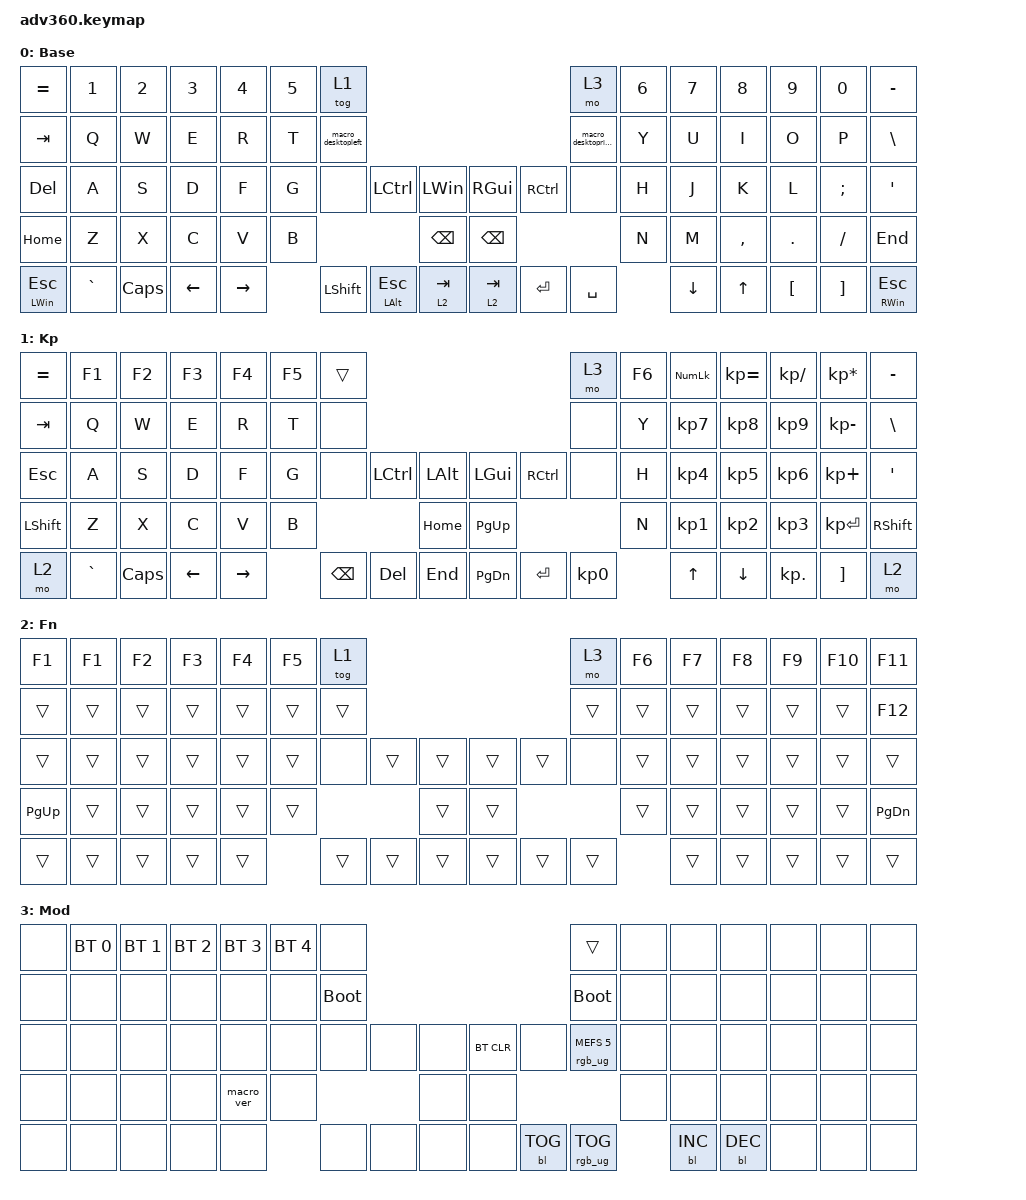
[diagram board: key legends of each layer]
#include <behaviors.dtsi>
#include <dt-bindings/zmk/keys.h>
#include <dt-bindings/zmk/bt.h>
#include <dt-bindings/zmk/rgb.h>
#include <dt-bindings/zmk/stp.h>
#include <dt-bindings/zmk/backlight.h>
#include <dt-bindings/zmk/pointing.h>

/ {
    behaviors {
      #include "macros.dtsi"
      #include "version.dtsi"

      hm: homerow_mods {
          compatible = "zmk,behavior-hold-tap";
          label = "HOMEROW_MODS";
          #binding-cells = <2>;
          tapping-term-ms = <200>;
          quick_tap_ms = <175>;
          flavor = "tap-preferred";
          bindings = <&kp>, <&kp>;
      };
    };

  keymap {
    compatible = "zmk,keymap";

    default_layer {
      display-name = "Base";
      bindings = <
&kp EQUAL            &kp N1     &kp N2    &kp N3    &kp N4     &kp N5  &tog 1                                                                                &mo 3                &kp N6  &kp N7    &kp N8     &kp N9    &kp N0    &kp MINUS
&kp TAB              &kp Q      &kp W     &kp E     &kp R      &kp T   &macro_desktopleft                                                                    &macro_desktopright  &kp Y   &kp U     &kp I      &kp O     &kp P     &kp BSLH
&kp DELETE           &kp A      &kp S     &kp D     &kp F      &kp G   &none               &kp LCTRL            &kp LEFT_WIN       &kp RIGHT_GUI  &kp RCTRL  &none                &kp H   &kp J     &kp K      &kp L     &kp SEMI  &kp SQT
&kp HOME             &kp Z      &kp X     &kp C     &kp V      &kp B                                            &kp BACKSPACE      &kp BACKSPACE                                  &kp N   &kp M     &kp COMMA  &kp DOT   &kp FSLH  &kp END
&mt LEFT_WIN ESCAPE  &kp GRAVE  &kp CAPS  &kp LEFT  &kp RIGHT          &kp LEFT_SHIFT      &mt LEFT_ALT ESCAPE  &lt 2 TAB          &lt 2 TAB      &kp ENTER  &kp SPACE                    &kp DOWN  &kp UP     &kp LBKT  &kp RBKT  &mt RIGHT_WIN ESCAPE
      >;
    };
    keypad {
      display-name = "Kp";
      bindings = <
&kp EQUAL  &kp F1     &kp F2    &kp F3    &kp F4     &kp F5  &trans                                                   &mo 3      &kp F6  &kp KP_NUM  &kp KP_EQUAL  &kp KP_DIVIDE  &kp KP_MULTIPLY  &kp MINUS
&kp TAB    &kp Q      &kp W     &kp E     &kp R      &kp T   &none                                                    &none      &kp Y   &kp KP_N7   &kp KP_N8     &kp KP_N9      &kp KP_MINUS     &kp BSLH
&kp ESC    &kp A      &kp S     &kp D     &kp F      &kp G   &none     &kp LCTRL  &kp LALT      &kp LGUI   &kp RCTRL  &none      &kp H   &kp KP_N4   &kp KP_N5     &kp KP_N6      &kp KP_PLUS      &kp SQT
&kp LSHFT  &kp Z      &kp X     &kp C     &kp V      &kp B                        &kp HOME      &kp PG_UP                        &kp N   &kp KP_N1   &kp KP_N2     &kp KP_N3      &kp KP_ENTER     &kp RSHFT
&mo 2      &kp GRAVE  &kp CAPS  &kp LEFT  &kp RIGHT          &kp BSPC  &kp DEL    &kp END       &kp PG_DN  &kp ENTER  &kp KP_N0          &kp UP      &kp DOWN      &kp KP_DOT     &kp RBKT         &mo 2      >;
    };
    fn {
      display-name = "Fn";
      bindings = <
&kp F1     &kp F1  &kp F2  &kp F3  &kp F4  &kp F5  &tog 1                                      &mo 3   &kp F6  &kp F7  &kp F8  &kp F9  &kp F10  &kp F11
&trans     &trans  &trans  &trans  &trans  &trans  &trans                                      &trans  &trans  &trans  &trans  &trans  &trans   &kp F12
&trans     &trans  &trans  &trans  &trans  &trans  &none   &trans  &trans      &trans  &trans  &none   &trans  &trans  &trans  &trans  &trans   &trans
&kp PG_UP  &trans  &trans  &trans  &trans  &trans                  &trans      &trans                  &trans  &trans  &trans  &trans  &trans   &kp PG_DN
&trans     &trans  &trans  &trans  &trans          &trans  &trans  &trans      &trans  &trans  &trans          &trans  &trans  &trans  &trans   &trans
      >;
    };
    mod {
      display-name = "Mod";
      bindings = <
&none  &bt BT_SEL 0  &bt BT_SEL 1  &bt BT_SEL 2  &bt BT_SEL 3  &bt BT_SEL 4  &none                                                  &trans                  &none  &none       &none       &none  &none  &none
&none  &none         &none         &none         &none         &none         &bootloader                                            &bootloader             &none  &none       &none       &none  &none  &none
&none  &none         &none         &none         &none         &none         &none        &none  &none      &bt BT_CLR  &none       &rgb_ug RGB_MEFS_CMD 5  &none  &none       &none       &none  &none  &none
&none  &none         &none         &none         &macro_ver    &none                             &none      &none                                           &none  &none       &none       &none  &none  &none
&none  &none         &none         &none         &none                       &none        &none  &none      &none       &bl BL_TOG  &rgb_ug RGB_TOG                &bl BL_INC  &bl BL_DEC  &none  &none  &none
      >;
    };
    extra1 { 
      display-name = "Red";    
      status = "reserved";
    };

    extra2 { 
      display-name = "Purple";    
      status = "reserved";
    };

    extra3 { 
      display-name = "Cyan";    
      status = "reserved";
    };

    extra4 { 
      display-name = "Yellow";    
      status = "reserved";
    };
  };
};
